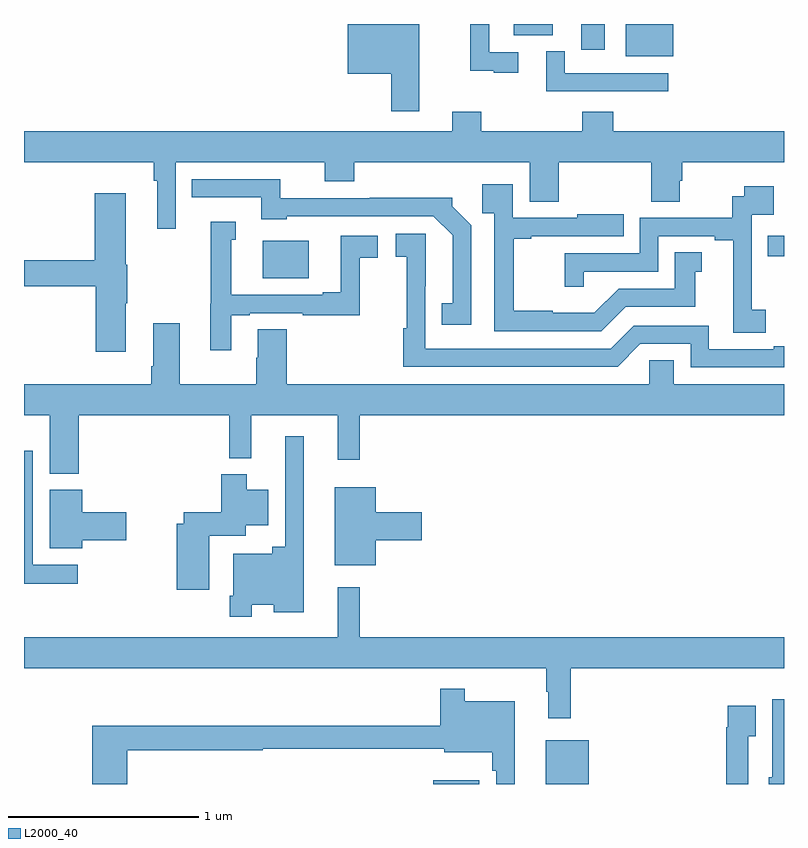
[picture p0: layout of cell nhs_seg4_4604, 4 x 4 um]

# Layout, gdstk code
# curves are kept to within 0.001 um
import gdstk
lib = gdstk.Library(unit=1e-6, precision=1e-09)
def R(c, l, rs):  # rectangles x0, y0, x1, y1
    for r in rs: c.add(gdstk.rectangle(r[:2], r[2:], *l))
def P(c, l, *ps):  # polygons
    for p in ps: c.add(gdstk.Polygon(p, *l))
L2000_40 = (2000, 40)

nhs_seg4_4604 = lib.new_cell('nhs_seg4_4604')
R(nhs_seg4_4604, L2000_40, [(361.153,774.9,361.396,774.919), (361.745,774.9,361.972,775.129), (360.257,777.563,360.499,777.76), (362.914,777.678,363,777.786), (362.168,778.73,362.416,778.9), (361.934,778.764,362.056,778.9), (361.577,778.841,361.783,778.9)])
P(nhs_seg4_4604, L2000_40, [(361.6,778.752),(361.449,778.752),(361.449,778.9),(361.348,778.9),(361.348,778.655),(361.472,778.655),(361.472,778.644),(361.6,778.644)],
  [(361.081,778.9),(360.704,778.9),(360.704,778.637),(360.932,778.637),(360.932,778.44),(361.081,778.44)],
  [(362.392,778.641),(361.845,778.641),(361.845,778.756),(361.748,778.756),(361.748,778.545),(362.392,778.545)],
  [(361.661,777.964),(361.814,777.964),(361.814,778.172),(362.3,778.172),(362.3,777.964),(362.452,777.964),(362.452,778.074),(362.465,778.074),(362.465,778.172),(363,778.172),(363,778.336),(362.102,778.336),(362.102,778.438),(361.937,778.438),(361.937,778.336),(361.406,778.336),(361.406,778.438),(361.253,778.438),(361.253,778.336),(359,778.336),(359,778.172),(359.683,778.172),(359.683,778.076),(359.702,778.076),(359.702,777.822),(359.799,777.822),(359.799,778.172),(360.584,778.172),(360.584,778.073),(360.737,778.073),(360.737,778.172),(361.661,778.172)],
  [(361.353,777.842),(361.254,777.941),(361.254,777.986),(360.82,777.986),(360.82,777.984),(360.348,777.984),(360.348,778.083),(359.884,778.083),(359.884,777.987),(360.248,777.987),(360.248,777.872),(360.384,777.872),(360.384,777.888),(361.155,777.888),(361.256,777.787),(361.256,777.431),(361.198,777.431),(361.198,777.318),(361.353,777.318)],
  [(362.166,777.411),(362.533,777.411),(362.533,777.595),(362.566,777.595),(362.566,777.698),(362.426,777.698),(362.426,777.507),(362.13,777.507),(362.002,777.379),(361.784,777.379),(361.784,777.391),(361.577,777.391),(361.577,777.771),(361.669,777.771),(361.669,777.783),(362.156,777.783),(362.156,777.898),(361.913,777.898),(361.913,777.879),(361.572,777.879),(361.572,778.057),(361.411,778.057),(361.411,777.905),(361.476,777.905),(361.476,777.282),(362.037,777.282)],
  [(362.905,777.396),(362.831,777.396),(362.831,777.593),(362.829,777.593),(362.829,777.897),(362.947,777.897),(362.947,778.045),(362.791,778.045),(362.791,777.993),(362.728,777.993),(362.728,777.879),(362.241,777.879),(362.241,777.693),(361.846,777.693),(361.846,777.516),(361.947,777.516),(361.947,777.597),(362.337,777.597),(362.337,777.783),(362.636,777.783),(362.636,777.763),(362.732,777.763),(362.732,777.385),(362.734,777.385),(362.734,777.274),(362.905,777.274)],
  [(359.536,777.431),(359.544,777.431),(359.544,777.633),(359.536,777.633),(359.536,778.009),(359.372,778.009),(359.372,777.656),(359,777.656),(359,777.52),(359.378,777.52),(359.378,777.174),(359.536,777.174)],
  [(360.091,777.366),(360.187,777.366),(360.187,777.378),(360.466,777.378),(360.466,777.366),(360.768,777.366),(360.768,777.67),(360.862,777.67),(360.862,777.786),(360.668,777.786),(360.668,777.487),(360.572,777.487),(360.572,777.474),(360.091,777.474),(360.091,777.765),(360.115,777.765),(360.115,777.859),(359.982,777.859),(359.982,777.427),(359.981,777.427),(359.981,777.183),(360.091,777.183)],
  [(363,777.204),(362.945,777.204),(362.945,777.189),(362.604,777.189),(362.604,777.312),(362.208,777.312),(362.088,777.192),(361.113,777.192),(361.114,777.796),(360.957,777.796),(360.957,777.675),(361.015,777.675),(361.015,777.299),(360.997,777.299),(360.997,777.096),(362.124,777.096),(362.244,777.216),(362.508,777.216),(362.508,777.093),(363,777.093)],
  [(359.288,776.84),(360.079,776.84),(360.079,776.615),(360.197,776.615),(360.197,776.84),(360.65,776.84),(360.65,776.607),(360.767,776.607),(360.767,776.84),(363,776.84),(363,777.004),(362.419,777.004),(362.419,777.131),(362.292,777.131),(362.292,777.004),(360.383,777.004),(360.383,777.293),(360.23,777.293),(360.23,777.143),(360.223,777.143),(360.223,777.004),(359.821,777.004),(359.821,777.325),(359.681,777.325),(359.681,777.1),(359.669,777.1),(359.669,777.004),(359,777.004),(359,776.84),(359.135,776.84),(359.135,776.534),(359.288,776.534)],
  [(360.198,775.844),(360.314,775.844),(360.314,775.805),(360.472,775.805),(360.472,776.731),(360.375,776.731),(360.375,776.149),(360.307,776.149),(360.307,776.113),(360.102,776.113),(360.102,775.891),(360.082,775.891),(360.082,775.779),(360.198,775.779)],
  [(359.284,776.055),(359.046,776.055),(359.046,776.653),(359,776.653),(359,775.954),(359.284,775.954)],
  [(359.974,776.207),(360.166,776.207),(360.166,776.261),(360.286,776.261),(360.286,776.449),(360.172,776.449),(360.172,776.53),(360.038,776.53),(360.038,776.33),(359.84,776.33),(359.84,776.271),(359.804,776.271),(359.804,775.923),(359.974,775.923)],
  [(360.85,776.183),(361.093,776.183),(361.093,776.33),(360.85,776.33),(360.85,776.461),(360.635,776.461),(360.635,776.051),(360.85,776.051)],
  [(359.306,776.183),(359.539,776.183),(359.539,776.33),(359.306,776.33),(359.306,776.449),(359.135,776.449),(359.135,776.14),(359.306,776.14)],
  [(361.877,775.508),(363,775.508),(363,775.672),(360.767,775.672),(360.767,775.936),(360.65,775.936),(360.65,775.672),(359,775.672),(359,775.508),(361.749,775.508),(361.749,775.385),(361.76,775.385),(361.76,775.245),(361.877,775.245)],
  [(359.543,775.078),(360.256,775.078),(360.256,775.086),(361.211,775.086),(361.211,775.067),(361.465,775.067),(361.465,774.971),(361.485,774.971),(361.485,774.9),(361.582,774.9),(361.582,775.336),(361.321,775.336),(361.321,775.402),(361.192,775.402),(361.192,775.207),(359.36,775.207),(359.36,774.9),(359.543,774.9)],
  [(363,775.345),(362.939,775.345),(362.939,774.936),(362.921,774.936),(362.921,774.9),(363,774.9)],
  [(362.811,775.151),(362.851,775.151),(362.851,775.312),(362.703,775.312),(362.703,775.199),(362.695,775.199),(362.695,774.9),(362.811,774.9)])

lib.write_gds('nhs_seg4_4604.gds')
